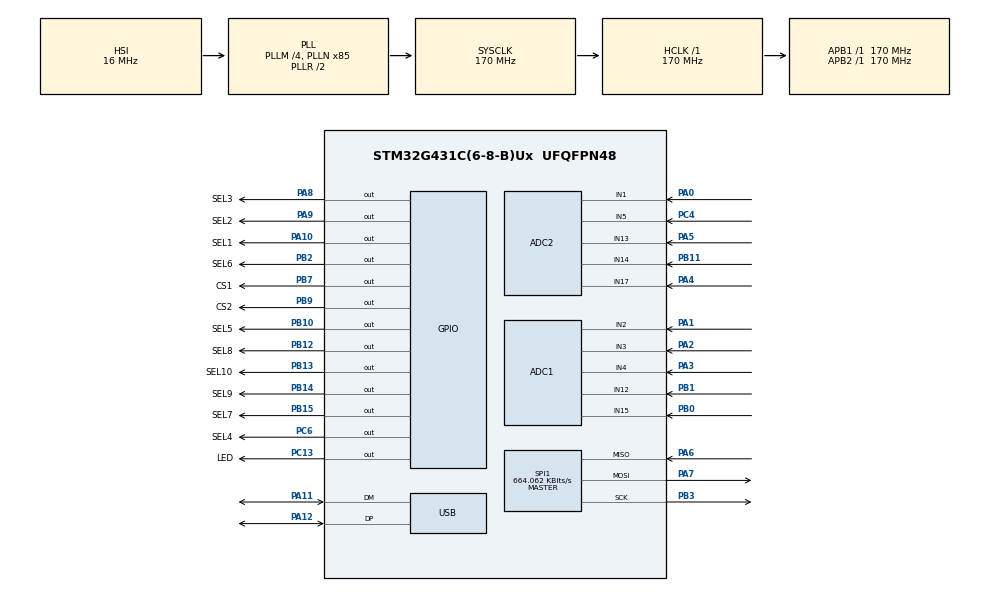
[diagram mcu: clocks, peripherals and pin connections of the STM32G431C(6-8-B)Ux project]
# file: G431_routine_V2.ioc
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ADC1.Channel-0\#ChannelRegularConversion=ADC_CHANNEL_12
ADC1.Channel-1\#ChannelRegularConversion=ADC_CHANNEL_15
ADC1.Channel-2\#ChannelRegularConversion=ADC_CHANNEL_4
ADC1.Channel-3\#ChannelRegularConversion=ADC_CHANNEL_3
ADC1.Channel-4\#ChannelRegularConversion=ADC_CHANNEL_2
ADC1.ContinuousConvMode=ENABLE
ADC1.DMAContinuousRequests=ENABLE
ADC1.NbrOfConversion=5
ADC1.NbrOfConversionFlag=1
ADC1.OffsetNumber-0\#ChannelRegularConversion=ADC_OFFSET_NONE
ADC1.OffsetNumber-1\#ChannelRegularConversion=ADC_OFFSET_NONE
ADC1.OffsetNumber-2\#ChannelRegularConversion=ADC_OFFSET_NONE
ADC1.OffsetNumber-3\#ChannelRegularConversion=ADC_OFFSET_NONE
ADC1.OffsetNumber-4\#ChannelRegularConversion=ADC_OFFSET_NONE
ADC1.Rank-0\#ChannelRegularConversion=1
ADC1.Rank-1\#ChannelRegularConversion=2
ADC1.Rank-2\#ChannelRegularConversion=3
ADC1.Rank-3\#ChannelRegularConversion=4
ADC1.Rank-4\#ChannelRegularConversion=5
ADC1.SamplingTime-0\#ChannelRegularConversion=ADC_SAMPLETIME_247CYCLES_5
ADC1.SamplingTime-1\#ChannelRegularConversion=ADC_SAMPLETIME_247CYCLES_5
ADC1.SamplingTime-2\#ChannelRegularConversion=ADC_SAMPLETIME_247CYCLES_5
ADC1.SamplingTime-3\#ChannelRegularConversion=ADC_SAMPLETIME_247CYCLES_5
ADC1.SamplingTime-4\#ChannelRegularConversion=ADC_SAMPLETIME_247CYCLES_5
ADC1.master=1
ADC2.Channel-1\#ChannelRegularConversion=ADC_CHANNEL_14
ADC2.Channel-2\#ChannelRegularConversion=ADC_CHANNEL_5
ADC2.Channel-3\#ChannelRegularConversion=ADC_CHANNEL_13
ADC2.Channel-4\#ChannelRegularConversion=ADC_CHANNEL_17
ADC2.Channel-5\#ChannelRegularConversion=ADC_CHANNEL_1
ADC2.ContinuousConvMode=ENABLE
ADC2.DMAContinuousRequests=ENABLE
ADC2.NbrOfConversion=5
ADC2.NbrOfConversionFlag=1
ADC2.OffsetNumber-1\#ChannelRegularConversion=ADC_OFFSET_NONE
ADC2.OffsetNumber-2\#ChannelRegularConversion=ADC_OFFSET_NONE
ADC2.OffsetNumber-3\#ChannelRegularConversion=ADC_OFFSET_NONE
ADC2.OffsetNumber-4\#ChannelRegularConversion=ADC_OFFSET_NONE
ADC2.OffsetNumber-5\#ChannelRegularConversion=ADC_OFFSET_NONE
ADC2.Rank-1\#ChannelRegularConversion=1
ADC2.Rank-2\#ChannelRegularConversion=2
ADC2.Rank-3\#ChannelRegularConversion=3
ADC2.Rank-4\#ChannelRegularConversion=4
ADC2.Rank-5\#ChannelRegularConversion=5
ADC2.SamplingTime-1\#ChannelRegularConversion=ADC_SAMPLETIME_247CYCLES_5
ADC2.SamplingTime-2\#ChannelRegularConversion=ADC_SAMPLETIME_247CYCLES_5
ADC2.SamplingTime-3\#ChannelRegularConversion=ADC_SAMPLETIME_247CYCLES_5
ADC2.SamplingTime-4\#ChannelRegularConversion=ADC_SAMPLETIME_247CYCLES_5
ADC2.SamplingTime-5\#ChannelRegularConversion=ADC_SAMPLETIME_247CYCLES_5
Dma.ADC1.0.Direction=DMA_PERIPH_TO_MEMORY
Dma.ADC1.0.EventEnable=DISABLE
Dma.ADC1.0.Instance=DMA1_Channel1
Dma.ADC1.0.MemDataAlignment=DMA_MDATAALIGN_HALFWORD
Dma.ADC1.0.MemInc=DMA_MINC_ENABLE
Dma.ADC1.0.Mode=DMA_CIRCULAR
Dma.ADC1.0.PeriphDataAlignment=DMA_PDATAALIGN_HALFWORD
Dma.ADC1.0.PeriphInc=DMA_PINC_DISABLE
Dma.ADC1.0.Polarity=HAL_DMAMUX_REQ_GEN_RISING
Dma.ADC1.0.Priority=DMA_PRIORITY_VERY_HIGH
Dma.ADC1.0.RequestNumber=1
Dma.ADC1.0.SignalID=NONE
Dma.ADC1.0.SyncEnable=DISABLE
Dma.ADC1.0.SyncPolarity=HAL_DMAMUX_SYNC_NO_EVENT
Dma.ADC1.0.SyncRequestNumber=1
Dma.ADC1.0.SyncSignalID=NONE
Dma.ADC2.1.Direction=DMA_PERIPH_TO_MEMORY
Dma.ADC2.1.EventEnable=DISABLE
Dma.ADC2.1.Instance=DMA2_Channel1
Dma.ADC2.1.MemDataAlignment=DMA_MDATAALIGN_HALFWORD
Dma.ADC2.1.MemInc=DMA_MINC_ENABLE
Dma.ADC2.1.Mode=DMA_CIRCULAR
Dma.ADC2.1.PeriphDataAlignment=DMA_PDATAALIGN_HALFWORD
Dma.ADC2.1.PeriphInc=DMA_PINC_DISABLE
Dma.ADC2.1.Polarity=HAL_DMAMUX_REQ_GEN_RISING
Dma.ADC2.1.Priority=DMA_PRIORITY_VERY_HIGH
Dma.ADC2.1.RequestNumber=1
Dma.ADC2.1.SignalID=NONE
Dma.ADC2.1.SyncEnable=DISABLE
Dma.ADC2.1.SyncPolarity=HAL_DMAMUX_SYNC_NO_EVENT
Dma.ADC2.1.SyncRequestNumber=1
Dma.ADC2.1.SyncSignalID=NONE
Dma.Request0=ADC1
Dma.Request1=ADC2
FREERTOS.INCLUDE_vTaskDelayUntil=1
FREERTOS.Tasks01=defaultTask,0,512,StartDefaultTask,Default,NULL,Dynamic,NULL,NULL;ledTask,-3,128,LedTask,Default,NULL,Dynamic,NULL,NULL;acquisitionTask,3,256,AcquisitionTask,Default,NULL,Dynamic,NULL,NULL
FREERTOS.configTOTAL_HEAP_SIZE=10240
Mcu.Family=STM32G4
Mcu.Name=STM32G431C(6-8-B)Ux
Mcu.Package=UFQFPN48
NVIC.PriorityGroup=NVIC_PRIORITYGROUP_4
NVIC.TIM1_TRG_COM_TIM17_IRQn=true\:15\:0\:false\:false\:true\:false\:false\:true\:true
NVIC.TimeBase=TIM1_TRG_COM_TIM17_IRQn
NVIC.TimeBaseIP=TIM17
NVIC.USB_LP_IRQn=true\:5\:0\:false\:false\:true\:true\:false\:true\:true
PA0.Mode=IN1-Single-Ended
PA0.Signal=ADC2_IN1
PA1.Mode=IN2-Single-Ended
PA1.Signal=ADC1_IN2
PA10.GPIO_Label=SEL1
PA10.GPIO_ModeDefaultOutputPP=GPIO_MODE_OUTPUT_PP
PA10.GPIO_PuPd=GPIO_PULLUP
PA10.GPIO_Speed=GPIO_SPEED_FREQ_VERY_HIGH
PA10.PinState=GPIO_PIN_SET
PA10.Signal=GPIO_Output
PA11.Mode=Device
PA11.Signal=USB_DM
PA12.Mode=Device
PA12.Signal=USB_DP
PA13.Mode=Serial_Wire
PA13.Signal=SYS_JTMS-SWDIO
PA14.Mode=Serial_Wire
PA14.Signal=SYS_JTCK-SWCLK
PA2.Mode=IN3-Single-Ended
PA2.Signal=ADC1_IN3
PA3.Mode=IN4-Single-Ended
PA3.Signal=ADC1_IN4
PA4.Mode=IN17-Single-Ended
PA4.Signal=ADC2_IN17
PA5.Mode=IN13-Single-Ended
PA5.Signal=ADC2_IN13
PA6.Mode=Full_Duplex_Master
PA6.Signal=SPI1_MISO
PA7.Mode=Full_Duplex_Master
PA7.Signal=SPI1_MOSI
PA8.GPIO_Label=SEL3
PA8.GPIO_ModeDefaultOutputPP=GPIO_MODE_OUTPUT_PP
PA8.GPIO_PuPd=GPIO_PULLUP
PA8.GPIO_Speed=GPIO_SPEED_FREQ_VERY_HIGH
PA8.PinState=GPIO_PIN_SET
PA8.Signal=GPIO_Output
PA9.GPIO_Label=SEL2
PA9.GPIO_ModeDefaultOutputPP=GPIO_MODE_OUTPUT_PP
PA9.GPIO_PuPd=GPIO_PULLUP
PA9.GPIO_Speed=GPIO_SPEED_FREQ_VERY_HIGH
PA9.PinState=GPIO_PIN_SET
PA9.Signal=GPIO_Output
PB0.Mode=IN15-Single-Ended
PB0.Signal=ADC1_IN15
PB1.Mode=IN12-Single-Ended
PB1.Signal=ADC1_IN12
PB10.GPIO_Label=SEL5
PB10.GPIO_ModeDefaultOutputPP=GPIO_MODE_OUTPUT_PP
PB10.GPIO_PuPd=GPIO_PULLUP
PB10.GPIO_Speed=GPIO_SPEED_FREQ_VERY_HIGH
PB10.PinState=GPIO_PIN_SET
PB10.Signal=GPIO_Output
PB11.Mode=IN14-Single-Ended
PB11.Signal=ADC2_IN14
PB12.GPIO_Label=SEL8
PB12.GPIO_ModeDefaultOutputPP=GPIO_MODE_OUTPUT_PP
PB12.GPIO_PuPd=GPIO_PULLUP
PB12.GPIO_Speed=GPIO_SPEED_FREQ_VERY_HIGH
PB12.PinState=GPIO_PIN_SET
PB12.Signal=GPIO_Output
PB13.GPIO_Label=SEL10
PB13.GPIO_ModeDefaultOutputPP=GPIO_MODE_OUTPUT_PP
PB13.GPIO_PuPd=GPIO_PULLUP
PB13.GPIO_Speed=GPIO_SPEED_FREQ_VERY_HIGH
PB13.PinState=GPIO_PIN_SET
PB13.Signal=GPIO_Output
PB14.GPIO_Label=SEL9
PB14.GPIO_ModeDefaultOutputPP=GPIO_MODE_OUTPUT_PP
PB14.GPIO_PuPd=GPIO_PULLUP
PB14.GPIO_Speed=GPIO_SPEED_FREQ_VERY_HIGH
PB14.PinState=GPIO_PIN_SET
PB14.Signal=GPIO_Output
PB15.GPIO_Label=SEL7
PB15.GPIO_ModeDefaultOutputPP=GPIO_MODE_OUTPUT_PP
PB15.GPIO_PuPd=GPIO_PULLUP
PB15.GPIO_Speed=GPIO_SPEED_FREQ_VERY_HIGH
PB15.PinState=GPIO_PIN_SET
PB15.Signal=GPIO_Output
PB2.GPIO_Label=SEL6
PB2.GPIO_ModeDefaultOutputPP=GPIO_MODE_OUTPUT_PP
PB2.GPIO_PuPd=GPIO_PULLUP
PB2.GPIO_Speed=GPIO_SPEED_FREQ_VERY_HIGH
PB2.PinState=GPIO_PIN_SET
PB2.Signal=GPIO_Output
PB3.Mode=Full_Duplex_Master
PB3.Signal=SPI1_SCK
PB7.GPIO_Label=CS1
PB7.GPIO_ModeDefaultOutputPP=GPIO_MODE_OUTPUT_PP
PB7.GPIO_PuPd=GPIO_PULLUP
PB7.GPIO_Speed=GPIO_SPEED_FREQ_VERY_HIGH
PB7.PinState=GPIO_PIN_SET
PB7.Signal=GPIO_Output
PB9.GPIO_Label=CS2
PB9.GPIO_PuPd=GPIO_PULLUP
PB9.GPIO_Speed=GPIO_SPEED_FREQ_VERY_HIGH
PB9.PinState=GPIO_PIN_SET
PB9.Signal=GPIO_Output
PC13.GPIO_Label=LED
PC13.GPIO_PuPd=GPIO_PULLUP
PC13.PinState=GPIO_PIN_SET
PC13.Signal=GPIO_Output
PC4.Mode=IN5-Single-Ended
PC4.Signal=ADC2_IN5
PC6.GPIO_Label=SEL4
PC6.GPIO_ModeDefaultOutputPP=GPIO_MODE_OUTPUT_PP
PC6.GPIO_PuPd=GPIO_PULLUP
PC6.GPIO_Speed=GPIO_SPEED_FREQ_VERY_HIGH
PC6.PinState=GPIO_PIN_SET
PC6.Signal=GPIO_Output
PF0-OSC_IN.Mode=HSE-External-Oscillator
PF0-OSC_IN.Signal=RCC_OSC_IN
PF1-OSC_OUT.Mode=HSE-External-Oscillator
PF1-OSC_OUT.Signal=RCC_OSC_OUT
ProjectManager.HeapSize=0x100
ProjectManager.StackSize=0xA00
ProjectManager.TargetToolchain=MDK-ARM V5.32
RCC.ADC12Freq_Value=170000000
RCC.AHBFreq_Value=170000000
RCC.APB1Freq_Value=170000000
RCC.APB1TimFreq_Value=170000000
RCC.APB2Freq_Value=170000000
RCC.APB2TimFreq_Value=170000000
RCC.CK48CLockSelection=RCC_USBCLKSOURCE_HSI48
RCC.CortexFreq_Value=170000000
RCC.EXTERNAL_CLOCK_VALUE=12288000
RCC.HCLKFreq_Value=170000000
RCC.HSE_VALUE=8000000
RCC.HSI48_VALUE=48000000
RCC.HSI_VALUE=16000000
RCC.LSE_VALUE=32768
RCC.PLLM=RCC_PLLM_DIV4
RCC.PLLN=85
RCC.SYSCLKFreq_VALUE=170000000
RCC.SYSCLKSource=RCC_SYSCLKSOURCE_PLLCLK
RCC.USBFreq_Value=48000000
RCC.VCOOutputFreq_Value=340000000
SPI1.BaudRatePrescaler=SPI_BAUDRATEPRESCALER_256
SPI1.CalculateBaudRate=664.062 KBits/s
SPI1.DataSize=SPI_DATASIZE_8BIT
SPI1.Direction=SPI_DIRECTION_2LINES
SPI1.Mode=SPI_MODE_MASTER
SPI1.VirtualType=VM_MASTER
TIM7.Prescaler=167
USB_DEVICE.CLASS_NAME_FS=CDC
USB_DEVICE.VirtualMode=Cdc
USB_DEVICE.VirtualModeFS=Cdc_FS
VP_FREERTOS_VS_CMSIS_V1.Mode=CMSIS_V1
VP_SYS_VS_DBSignals.Mode=DisableDeadBatterySignals
VP_SYS_VS_tim17.Mode=TIM17
VP_TIM7_VS_ClockSourceINT.Mode=Enable_Timer
VP_USB_DEVICE_VS_USB_DEVICE_CDC_FS.Mode=CDC_FS
board=custom

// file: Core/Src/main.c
/* USER CODE BEGIN Header */
/**
  ******************************************************************************
  * @file           : main.c
  * @brief          : Main program body
  ******************************************************************************
  * @attention
  *
  * Copyright (c) 2025 STMicroelectronics.
  * All rights reserved.
  *
  * This software is licensed under terms that can be found in the LICENSE file
  * in the root directory of this software component.
  * If no LICENSE file comes with this software, it is provided AS-IS.
  *
  ******************************************************************************
  */
/* USER CODE END Header */
#include "main.h"
#include "cmsis_os.h"
#include "adc.h"
#include "dma.h"
#include "spi.h"
#include "tim.h"
#include "usb_device.h"
#include "gpio.h"

void SystemClock_Config(void);
void MX_FREERTOS_Init(void);

int main(void)
{

  /* MCU Configuration--------------------------------------------------------*/

  /* Reset of all peripherals, Initializes the Flash interface and the Systick. */
  HAL_Init();

  /* Configure the system clock */
  SystemClock_Config();

  /* Initialize all configured peripherals */
  MX_GPIO_Init();
  MX_DMA_Init();
  MX_USB_Device_Init();
  MX_SPI1_Init();
  MX_ADC1_Init();
  MX_ADC2_Init();
  MX_TIM7_Init();
  /* USER CODE BEGIN 2 */
	LL_TIM_SetCounter(TIM7, 0);
//	LL_TIM_EnableIT_UPDATE(TIM7);//start TIM7 IRQ
	LL_TIM_EnableCounter(TIM7);//Enable TIM7
  /* USER CODE END 2 */

  /* Call init function for freertos objects (in freertos.c) */
  MX_FREERTOS_Init();

  /* Start scheduler */
  osKernelStart();

  /* We should never get here as control is now taken by the scheduler */
  /* Infinite loop */
  while (1)
  {

  }
}

void SystemClock_Config(void)
{
  RCC_OscInitTypeDef RCC_OscInitStruct = {0};
  RCC_ClkInitTypeDef RCC_ClkInitStruct = {0};

  /** Configure the main internal regulator output voltage
  */
  HAL_PWREx_ControlVoltageScaling(PWR_REGULATOR_VOLTAGE_SCALE1_BOOST);

  /** Initializes the RCC Oscillators according to the specified parameters
  * in the RCC_OscInitTypeDef structure.
  */
  RCC_OscInitStruct.OscillatorType = RCC_OSCILLATORTYPE_HSI|RCC_OSCILLATORTYPE_HSI48;
  RCC_OscInitStruct.HSIState = RCC_HSI_ON;
  RCC_OscInitStruct.HSICalibrationValue = RCC_HSICALIBRATION_DEFAULT;
  RCC_OscInitStruct.HSI48State = RCC_HSI48_ON;
  RCC_OscInitStruct.PLL.PLLState = RCC_PLL_ON;
  RCC_OscInitStruct.PLL.PLLSource = RCC_PLLSOURCE_HSI;
  RCC_OscInitStruct.PLL.PLLM = RCC_PLLM_DIV4;
  RCC_OscInitStruct.PLL.PLLN = 85;
  RCC_OscInitStruct.PLL.PLLP = RCC_PLLP_DIV2;
  RCC_OscInitStruct.PLL.PLLQ = RCC_PLLQ_DIV2;
  RCC_OscInitStruct.PLL.PLLR = RCC_PLLR_DIV2;
  if (HAL_RCC_OscConfig(&RCC_OscInitStruct) != HAL_OK)
  {
    Error_Handler();
  }

  /** Initializes the CPU, AHB and APB buses clocks
  */
  RCC_ClkInitStruct.ClockType = RCC_CLOCKTYPE_HCLK|RCC_CLOCKTYPE_SYSCLK
                              |RCC_CLOCKTYPE_PCLK1|RCC_CLOCKTYPE_PCLK2;
  RCC_ClkInitStruct.SYSCLKSource = RCC_SYSCLKSOURCE_PLLCLK;
  RCC_ClkInitStruct.AHBCLKDivider = RCC_SYSCLK_DIV1;
  RCC_ClkInitStruct.APB1CLKDivider = RCC_HCLK_DIV1;
  RCC_ClkInitStruct.APB2CLKDivider = RCC_HCLK_DIV1;

  if (HAL_RCC_ClockConfig(&RCC_ClkInitStruct, FLASH_LATENCY_4) != HAL_OK)
  {
    Error_Handler();
  }
}

void HAL_TIM_PeriodElapsedCallback(TIM_HandleTypeDef *htim)
{
  if (htim->Instance == TIM17) {
    HAL_IncTick();
  }
}

void Error_Handler(void)
{
  __disable_irq();
  while (1)
  {
  }
}

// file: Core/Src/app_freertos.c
/* USER CODE BEGIN Header */
/**
  ******************************************************************************
  * File Name          : app_freertos.c
  * Description        : Code for freertos applications
  ******************************************************************************
  * @attention
  *
  * Copyright (c) 2025 STMicroelectronics.
  * All rights reserved.
  *
  * This software is licensed under terms that can be found in the LICENSE file
  * in the root directory of this software component.
  * If no LICENSE file comes with this software, it is provided AS-IS.
  *
  ******************************************************************************
  */
/* USER CODE END Header */

#include "FreeRTOS.h"
#include "task.h"
#include "main.h"
#include "cmsis_os.h"

osThreadId defaultTaskHandle;
osThreadId ledTaskHandle;
osThreadId acquisitionTaskHandle;

void StartDefaultTask(void const * argument);
void LedTask(void const * argument);
void AcquisitionTask(void const * argument);

void MX_FREERTOS_Init(void); /* (MISRA C 2004 rule 8.1) */

void MX_FREERTOS_Init(void) {

  /* Create the thread(s) */
  /* definition and creation of defaultTask */
  osThreadDef(defaultTask, StartDefaultTask, osPriorityNormal, 0, 512);
  defaultTaskHandle = osThreadCreate(osThread(defaultTask), NULL);

  /* definition and creation of ledTask */
  osThreadDef(ledTask, LedTask, osPriorityIdle, 0, 128);
  ledTaskHandle = osThreadCreate(osThread(ledTask), NULL);

  /* definition and creation of acquisitionTask */
  osThreadDef(acquisitionTask, AcquisitionTask, osPriorityRealtime, 0, 256);
  acquisitionTaskHandle = osThreadCreate(osThread(acquisitionTask), NULL);

}

/* USER CODE BEGIN Header_StartDefaultTask */
/**
  * @brief  Function implementing the defaultTask thread.
  * @param  argument: Not used
  * @retval None
  */
Adc_IN_Struct adc_value_struct;
/* USER CODE END Header_StartDefaultTask */
void StartDefaultTask(void const * argument)
{
  /* USER CODE BEGIN StartDefaultTask */
	char usb_buff[1024]={0};
	unsigned long long index=0;

	HAL_GPIO_WritePin(SEL1_GPIO_Port, SEL1_Pin, 1);
	HAL_GPIO_WritePin(SEL2_GPIO_Port, SEL2_Pin, 1);
	HAL_GPIO_WritePin(SEL3_GPIO_Port, SEL3_Pin, 1);
	HAL_GPIO_WritePin(SEL4_GPIO_Port, SEL4_Pin, 1);
	HAL_GPIO_WritePin(SEL5_GPIO_Port, SEL5_Pin, 1);
	HAL_GPIO_WritePin(SEL6_GPIO_Port, SEL6_Pin, 1);
	HAL_GPIO_WritePin(SEL7_GPIO_Port, SEL7_Pin, 1);
	HAL_GPIO_WritePin(SEL8_GPIO_Port, SEL8_Pin, 1);
	HAL_GPIO_WritePin(SEL9_GPIO_Port, SEL9_Pin, 1);
	HAL_GPIO_WritePin(SEL10_GPIO_Port,SEL10_Pin,1);

	//灵敏配置：35 200
	//灵敏极限：50 255 （测到最小电阻为9.8kΩ） 150 255
	//量程大配置：5 50  （8x8标定用的这个，量程大）

	AD5206_SetResistance(1,4,255);//Rref  5-0.360V   10-0.576V   25-1.097V    35-1.357V   45-1.552V   50-1.633   55-1.710V   65-1.845V   75-1.957V

	//50 200
	AD5206_SetResistance(1,5,255);//OUT1
	AD5206_SetResistance(0,4,255);//OUT2
	AD5206_SetResistance(1,2,255);//OUT3 50-1.95kΩ 100-3.85kΩ
	AD5206_SetResistance(1,0,255);//OUT4
	AD5206_SetResistance(1,3,255);//OUT5
	AD5206_SetResistance(1,1,255);//OUT6
	AD5206_SetResistance(0,0,255);//OUT7
	AD5206_SetResistance(0,2,255);//OUT8
	AD5206_SetResistance(0,1,255);//OUT9
	AD5206_SetResistance(0,3,255);//OUT10

	HAL_ADC_Start_DMA(&hadc1, (uint32_t *)(&(adc_value_struct.IN2)), 5);
	HAL_ADC_Start_DMA(&hadc2, (uint32_t *)(&(adc_value_struct.IN1)), 5);

  /* Infinite loop */
	for(;;)
	{

//		sprintf(usb_buff,"IN1:%4d ,IN2:%4d ,IN3:%4d ,IN4:%4d ,IN5:%4d ,IN6:%4d ,IN7:%4d ,IN8:%4d ,IN9:%4d ,IN10:%4d\r\n",
//			adc_value_struct.IN1,adc_value_struct.IN2,adc_value_struct.IN3,adc_value_struct.IN4,adc_value_struct.IN5,
//			adc_value_struct.IN6,adc_value_struct.IN7,adc_value_struct.IN8,adc_value_struct.IN9,adc_value_struct.IN10);

//		sprintf((char *)usb_buff,
//					"Frame %02llu: \r\n",
//					index++);
//
//		for (uint8_t i = 1; i < 11; i++) {
//				Select_switcher(i);
//				user_delaynus_tim(100);
//				// 1/42.5MHz*(640.5+12.5=653)cycles *5ch = 76.8235us    ADC转换时配置为 640.5cycles
//				// 1/42.5MHz*(247.5+12.5=260)cycles *5ch = 30.5882us    ADC转换时配置为 247.5cycles
//				// 1/42.5MHz*(92.5+12.5=105 )cycles *5ch = 12.3530us    ADC转换时配置为 92.5cycles
//				sprintf((char *)usb_buff + strlen((char *)usb_buff), //
//					"line:%2d:%4d %4d %4d %4d %4d %4d %4d %4d %4d %4d \r\n",
//						i,
//						adc_value_struct.IN1,adc_value_struct.IN2,adc_value_struct.IN3,adc_value_struct.IN4,adc_value_struct.IN5,
//						adc_value_struct.IN6,adc_value_struct.IN7,adc_value_struct.IN8,adc_value_struct.IN9,adc_value_struct.IN10);
//			}
//
//		CDC_Transmit_FS((uint8_t *)usb_buff,strlen(usb_buff));
		osDelay(100);
	}
  /* USER CODE END StartDefaultTask */
}

void LedTask(void const * argument)
{
  /* USER CODE BEGIN LedTask */

	TickType_t xLastWakeTime = xTaskGetTickCount();//HAL_GPIO_TogglePin
  /* Infinite loop */
	for(;;)
	{
		HAL_GPIO_TogglePin(LED_GPIO_Port,LED_Pin);
		vTaskDelayUntil(&xLastWakeTime, pdMS_TO_TICKS(100));
//		HAL_GPIO_WritePin(SEL1_GPIO_Port, SEL1_Pin, 0);
//		HAL_GPIO_WritePin(SEL2_GPIO_Port, SEL2_Pin, 0);
//		HAL_GPIO_WritePin(SEL3_GPIO_Port, SEL3_Pin, 0);
//		HAL_GPIO_WritePin(SEL4_GPIO_Port, SEL4_Pin, 0);
//		HAL_GPIO_WritePin(SEL5_GPIO_Port, SEL5_Pin, 0);
//		HAL_GPIO_WritePin(SEL6_GPIO_Port, SEL6_Pin, 0);
//		HAL_GPIO_WritePin(SEL7_GPIO_Port, SEL7_Pin, 0);
//		HAL_GPIO_WritePin(SEL8_GPIO_Port, SEL8_Pin, 0);
//		HAL_GPIO_WritePin(SEL9_GPIO_Port, SEL9_Pin, 0);
//		HAL_GPIO_WritePin(SEL10_GPIO_Port,SEL10_Pin,0);
//		vTaskDelayUntil(&xLastWakeTime, pdMS_TO_TICKS(1));
//
//
//
//		HAL_GPIO_WritePin(SEL1_GPIO_Port, SEL1_Pin, 1);
//		HAL_GPIO_WritePin(SEL2_GPIO_Port, SEL2_Pin, 1);
//		HAL_GPIO_WritePin(SEL3_GPIO_Port, SEL3_Pin, 1);
//		HAL_GPIO_WritePin(SEL4_GPIO_Port, SEL4_Pin, 1);
//		HAL_GPIO_WritePin(SEL5_GPIO_Port, SEL5_Pin, 1);
//		HAL_GPIO_WritePin(SEL6_GPIO_Port, SEL6_Pin, 1);
//		HAL_GPIO_WritePin(SEL7_GPIO_Port, SEL7_Pin, 1);
//		HAL_GPIO_WritePin(SEL8_GPIO_Port, SEL8_Pin, 1);
//		HAL_GPIO_WritePin(SEL9_GPIO_Port, SEL9_Pin, 1);
//		HAL_GPIO_WritePin(SEL10_GPIO_Port,SEL10_Pin,1);
//		vTaskDelayUntil(&xLastWakeTime, pdMS_TO_TICKS(3));

	}
  /* USER CODE END LedTask */
}

/* USER CODE BEGIN Header_AcquisitionTask */
/**
* @brief Function implementing the acquisitionTask thread.
* @param argument: Not used
* @retval None
*/
volatile Word_union print_data[1004];
volatile Word_union res_data_1[1004];
volatile Word_union res_data_2[1004];
volatile Word_union* res_send_p=res_data_1;
volatile Word_union* res_store_p=res_data_2;
//电压采集完成之后需要进行缓存切换
void exchange_res_p(void)
{
	static uint8_t state=1;//第一次运行该函数前 采集的数据存到res_data_2   第一次运行该函数后状态变为0，发送的指针指向res_data_1  之后循环往复
	state=!state;

	if(state)
	{
		res_send_p=res_data_1;
		res_store_p=res_data_2;
	}
	else
	{
		res_send_p=res_data_2;
		res_store_p=res_data_1;
	}
}
/* USER CODE END Header_AcquisitionTask */
void AcquisitionTask(void const * argument)
{
  /* USER CODE BEGIN AcquisitionTask */
	osDelay(500);
	TickType_t xLastWakeTime;

	res_data_1[0].byte[0]=0x55;//帧头
	res_data_1[0].byte[1]=0xAA;
	res_data_1[1].byte[0]=0xBB;
	res_data_1[1].byte[1]=0xCC;
	for(uint16_t i=0;i<1000;i++)
	{
//		res_send_p[2+i].word16=i*1+1;
		res_data_1[2+i].word16=i*1+1;
	}
	res_data_1[1002].byte[0]=0xAA;//帧尾
	res_data_1[1002].byte[1]=0x55;
	res_data_1[1003].byte[0]=0x66;
	res_data_1[1003].byte[1]=0x77;

	res_data_2[0].byte[0]=0x55;//帧头
	res_data_2[0].byte[1]=0xAA;
	res_data_2[1].byte[0]=0xBB;
	res_data_2[1].byte[1]=0xCC;
	for(uint16_t i=0;i<1000;i++)
	{
		res_data_2[2+i].word16=i*2+2;
	}
	res_data_2[1002].byte[0]=0xAA;//帧尾
	res_data_2[1002].byte[1]=0x55;
	res_data_2[1003].byte[0]=0x66;
	res_data_2[1003].byte[1]=0x77;

	xLastWakeTime = xTaskGetTickCount();
	// 1/42.5MHz*(640.5+12.5=653)cycles *5ch = 76.8235us    ADC转换时配置为 640.5cycles
	// 1/42.5MHz*(247.5+12.5=260)cycles *5ch = 30.5882us    ADC转换时配置为 247.5cycles
	// 1/42.5MHz*(92.5+12.5=105 )cycles *5ch = 12.3530us    ADC转换时配置为 92.5cycles
  /* Infinite loop */
	for(;;)
	{
		for(uint8_t j=0;j<10;j++)
		{
			for(uint8_t i=1;i<11;i++)
			{
				Select_switcher(i);//i
				user_delaynus_tim(50);
				res_store_p[j*100+(i-1)*10+0+2].word16=adc_value_struct.IN1;
				res_store_p[j*100+(i-1)*10+1+2].word16=adc_value_struct.IN2;
				res_store_p[j*100+(i-1)*10+2+2].word16=adc_value_struct.IN3;
				res_store_p[j*100+(i-1)*10+3+2].word16=adc_value_struct.IN4;
				res_store_p[j*100+(i-1)*10+4+2].word16=adc_value_struct.IN5;
				res_store_p[j*100+(i-1)*10+5+2].word16=adc_value_struct.IN6;
				res_store_p[j*100+(i-1)*10+6+2].word16=adc_value_struct.IN7;
				res_store_p[j*100+(i-1)*10+7+2].word16=adc_value_struct.IN8;
				res_store_p[j*100+(i-1)*10+8+2].word16=adc_value_struct.IN9;
				res_store_p[j*100+(i-1)*10+9+2].word16=adc_value_struct.IN10;
			}
				vTaskDelayUntil(&xLastWakeTime, pdMS_TO_TICKS(1));//osDelay(1);
		}
//		osDelay(100);
		exchange_res_p();//切换缓存区
		CDC_Transmit_FS(res_send_p->byte, 2008);
	}
  /* USER CODE END AcquisitionTask */
}

/* USER CODE BEGIN Application */
// 设置AD5206的电阻值
// index: 0 1
// channel: 0~5
// resistance: 0~255
void AD5206_SetResistance(uint8_t index, uint8_t channel, uint8_t resistance) {
		uint8_t spi_data[2]={0x00,10};

    // 确保通道和电阻值在有效范围内
    if (channel > 5) return; // AD5206有6个通道，通道号从0到5
    if (resistance > 255) return; // 电阻值应在0到255之间
		if (index!=0 && index!=1) return;

		if(index==0)
			HAL_GPIO_WritePin(CS1_GPIO_Port,CS1_Pin,0);
		else if(index==1)
			HAL_GPIO_WritePin(CS2_GPIO_Port,CS2_Pin,0);

		spi_data[0]=channel;
		spi_data[1]=resistance;

		HAL_SPI_Transmit(&hspi1,spi_data,2,0xffff);
		osDelay(5);
    if(index==0)
		HAL_GPIO_WritePin(CS1_GPIO_Port,CS1_Pin,1);
	else if(index==1)
		HAL_GPIO_WritePin(CS2_GPIO_Port,CS2_Pin,1);
}

//切换列选  把上一个列的引脚置高电平 当前列置低电平
/*
index : 1~10
*/
void Select_switcher(uint8_t index)
{
	switch(index)
	{
		case 1:
			SEL10_GPIO_Port->BSRR=SEL10_pin_HIGH;//高电平
			SEL1_GPIO_Port->BSRR=SEL1_pin_LOW;//低电平
			break;
		case 2:
			SEL1_GPIO_Port->BSRR=SEL1_pin_HIGH;//高电平
			SEL2_GPIO_Port->BSRR=SEL2_pin_LOW;//低电平
			break;
		case 3:
			SEL2_GPIO_Port->BSRR=SEL2_pin_HIGH;//高电平
			SEL3_GPIO_Port->BSRR=SEL3_pin_LOW;//低电平
			break;
		case 4:
			SEL3_GPIO_Port->BSRR=SEL3_pin_HIGH;//高电平
			SEL4_GPIO_Port->BSRR=SEL4_pin_LOW;//低电平
			break;
		case 5:
			SEL4_GPIO_Port->BSRR=SEL4_pin_HIGH;//高电平
			SEL5_GPIO_Port->BSRR=SEL5_pin_LOW;//低电平
			break;
		case 6:
			SEL5_GPIO_Port->BSRR=SEL5_pin_HIGH;//高电平
			SEL6_GPIO_Port->BSRR=SEL6_pin_LOW;//低电平
			break;
		case 7:
			SEL6_GPIO_Port->BSRR=SEL6_pin_HIGH;//高电平
			SEL7_GPIO_Port->BSRR=SEL7_pin_LOW;//低电平
			break;
		case 8:
			SEL7_GPIO_Port->BSRR=SEL7_pin_HIGH;//高电平
			SEL8_GPIO_Port->BSRR=SEL8_pin_LOW;//低电平
			break;
		case 9:
			SEL8_GPIO_Port->BSRR=SEL8_pin_HIGH;//高电平
			SEL9_GPIO_Port->BSRR=SEL9_pin_LOW;//低电平
			break;
		case 10:
			SEL9_GPIO_Port->BSRR=SEL9_pin_HIGH;//高电平
			SEL10_GPIO_Port->BSRR=SEL10_pin_LOW;//低电平
			break;
	}
}

void user_delaynus_tim(uint16_t nus)
{

	LL_TIM_SetCounter(TIM7, 0);
	while (LL_TIM_GetCounter(TIM7) < nus)
	{
		;// Optionally, add a timeout condition here to avoid an infinite loop
	}
}
/* USER CODE END Application */
